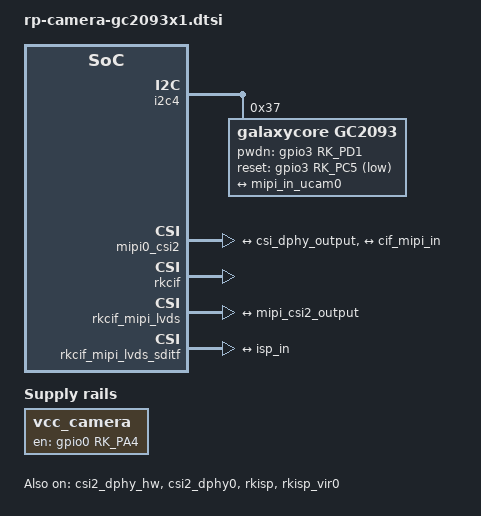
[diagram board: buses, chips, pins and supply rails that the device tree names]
/*
 * Added by rpdzkj
 */
/ {
        cam_ircut0: cam_ircut {
                status = "disabled";
                compatible = "rockchip,ircut";
                ircut-open-gpios = <&gpio1 RK_PD3 GPIO_ACTIVE_HIGH>;
                ircut-close-gpios  = <&gpio1 RK_PD1 GPIO_ACTIVE_HIGH>;
                rockchip,camera-module-index = <0>;
                rockchip,camera-module-facing = "back";
        };

	vcc_camera: vcc-camera-regulator {
                compatible = "regulator-fixed";
                gpio = <&gpio0 RK_PA4 GPIO_ACTIVE_HIGH>;
                pinctrl-names = "default";
                pinctrl-0 = <&camera_pwr>;
                regulator-name = "vcc_camera";
                enable-active-high;
                regulator-always-on;
                regulator-boot-on;
        };

};

&i2c4 {
	   status = "okay";
	//IR
      gc2093: gc2093@37 {
                compatible = "galaxycore,gc2093";
                status = "okay";
                reg = <0x37>;
                clocks = <&cru MCLK_REF_MIPI0>;
                clock-names = "xvclk";
               // power-domains = <&power RV1106_PD_VI>;
                pinctrl-names = "default";
                pinctrl-0 = <&mipi_refclk_out0>;
                pwdn-gpios = <&gpio3 RK_PD1 GPIO_ACTIVE_HIGH>;
                reset-gpios = <&gpio3 RK_PC5 GPIO_ACTIVE_LOW>;
                rockchip,camera-module-index = <0>;
                rockchip,camera-module-facing = "back";
                rockchip,camera-module-name = "YT-RV1106-2-V1";
                rockchip,camera-module-lens-name = "40IR-2MP-F20";
                port {
                        ucam_out0: endpoint {
                                remote-endpoint = <&mipi_in_ucam0>;
                                data-lanes = <1 2>;
                        };
                };
        };
};

&csi2_dphy_hw {
	status = "okay";
};

&csi2_dphy0 {
	status = "okay";

	ports {
		#address-cells = <1>;
		#size-cells = <0>;

		port@0 {
			reg = <0>;
			#address-cells = <1>;
			#size-cells = <0>;

			mipi_in_ucam0: endpoint@0 {
				reg = <0>;
				remote-endpoint = <&ucam_out0>;
				data-lanes = <1 2>;
			};
		};

		port@1 {
			reg = <1>;
			#address-cells = <1>;
			#size-cells = <0>;

			csi_dphy_output: endpoint@0 {
				reg = <0>;
				remote-endpoint = <&mipi_csi2_input>;
			};
		};
	};
};


&mipi0_csi2 {
	status = "okay";

	ports {
		#address-cells = <1>;
		#size-cells = <0>;

		port@0 {
			reg = <0>;
			#address-cells = <1>;
			#size-cells = <0>;

			mipi_csi2_input: endpoint@1 {
				reg = <1>;
				remote-endpoint = <&csi_dphy_output>;
			};
		};

		port@1 {
			reg = <1>;
			#address-cells = <1>;
			#size-cells = <0>;

			mipi_csi2_output: endpoint@0 {
				reg = <0>;
				remote-endpoint = <&cif_mipi_in>;
			};
		};
	};
};

&rkcif {
	status = "okay";
};

&rkcif_mipi_lvds {
	status = "okay";

	pinctrl-names = "default";
	pinctrl-0 = <&mipi_pins>;
	port {
		/* MIPI CSI-2 endpoint */
		cif_mipi_in: endpoint {
			remote-endpoint = <&mipi_csi2_output>;
		};
	};
};

&rkcif_mipi_lvds_sditf {
	status = "okay";

	port {
		/* MIPI CSI-2 endpoint */
		mipi_lvds_sditf: endpoint {
			remote-endpoint = <&isp_in>;
		};
	};
};

&rkisp {
	status = "okay";
};

&rkisp_vir0 {
	status = "okay";

	port@0 {
		isp_in: endpoint {
			remote-endpoint = <&mipi_lvds_sditf>;
		};
	};
};


&pinctrl {
        cam {
                camera_pwr: camera-pwr {
                        rockchip,pins =
                                /* camera power en */
                                <0 RK_PA4 RK_FUNC_GPIO &pcfg_pull_none>;
                };
        };
};
